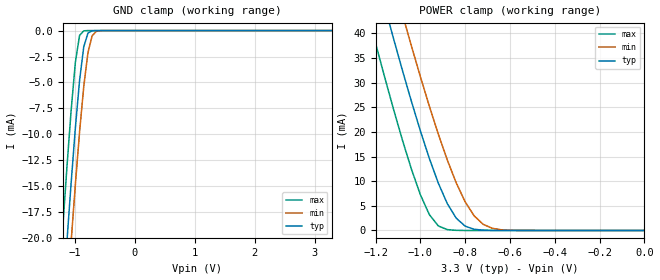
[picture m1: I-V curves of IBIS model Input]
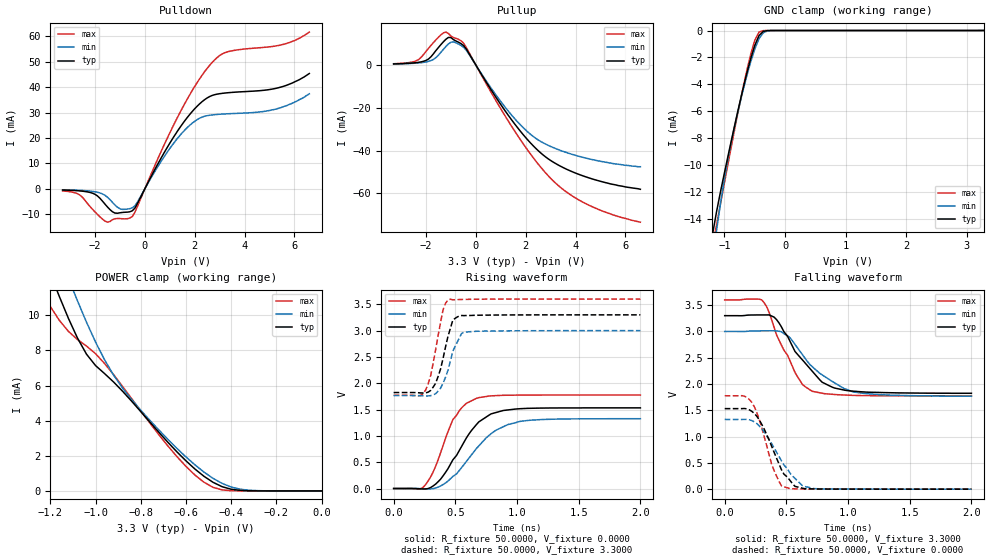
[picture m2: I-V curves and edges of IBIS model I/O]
| IBIS file w9825g6kh_-40~85c.ibs
| Winbond W9825G6KH 16M*16 256M bits SDRAM IBIS model
| This model valid for industrial temperature range
| This model applicable for -5I/-6I industrial grades
| Part Number   Organization   Package   VDD/VDDQ   TOPR
| W9825G6KH-5I   16M*16   TSOP II 54-Pin   3.3V +/-0.3V   -40~85C
| W9825G6KH-6I   16M*16   TSOP II 54-Pin   3.3V +/-0.3V   -40~85C
| TOPR: Operating Temperature
[IBIS ver]   3.2
[File name]  w9825g6kh_-40~85c.ibs
[File Rev]   0.1
[Date]   Jul. 22, 2014
[Source]   Simulation of a silicon level SPICE model
[Notes]   IBIS Characteristics for I/O Buffer
   IBIS Model Revision History:
   Rev 0.1: Jul. 22, 2014
   - IBIS model file initial creation
[Disclaimer] This model software code and all related notes or documentation
             (collectively "Software") is provided "AS IS" without warranty of
             any kind. You bear the risk of using it.
             Winbond Electronics Corp.("WINBOND") hereunder
             DISCLAIMS ALL WARRANTIES EXPRESS OR IMPLIED, INCLUDING BUT NOT
             LIMITED TO,NONINFRINGEMENT OF THIRD PARTY RIGHTS, AND ANY IMPLIED
             WARRANTIES OF MERCHANTABILITY OR FITNESS FOR ANY PARTICULAR
             PURPOSE.WINBOND DOES NOT WARRANT THAT THE OPERATION OF THE
             SOFTWARE WILL BE UNINTERRUPTED OR ERROR-FREE. FURTHERMORE,
             WINBOND DOES NOT MAKE ANY WARRANTIES REGARDING THE USE OR
             THE RESULTS OF THE USE OF THE SOFTWARE IN TERMS OF ITS
             CORRECTNESS,ACCURACY, RELIABILITY, OR OTHERWISE. IN NO EVENT SHALL
             WINBOND, ITS SUBSIDIARY COMPANIES OR THEIR SUPPLIERS BE LIABLE
             FOR ANY DIRECT, INDIRECT, CONSEQUENTIAL, INCIDENTAL, OR SPECIAL
             DAMAGES (INCLUDING, WITHOUT LIMITATION, DAMAGES FOR LOSS OF
             PROFITS,BUSINESS INTERRUPTION, OR LOSS OF INFORMATION) ARISING OUT
             OF YOUR USE OF OR INABILITY TO USE THE SOFTWARE, EVEN IF WINBOND
             HAS BEEN ADVISED OF THE POSSIBILITY OF SUCH DAMAGES.
[Copyright]  Copyright (C) 2014 Winbond Electronics Corp. All rights reserved
|   Component W9825G6KH
[Component]   W9825G6KH
[Manufacturer] Winbond Electronics Corp.
| All pins excluding NC, POWER and GND (R[Ohm], L[H], C[F])
[Package]   | TSOP II 54-Pin
| variable   typ   min   max
R_pkg   629.144m   423.110m   929.160m
L_pkg   6.520n   4.165n   9.460n
C_pkg   0.932p   0.493p   1.491p
[Pin]  signal_name   model_name   R_pin   L_pin   C_pin
1   VDD   POWER   NA   NA   NA
2   DQ0   I/O   929.160m   9.460n   1.476p
3   VDDQ   POWER   NA   NA   NA
4   DQ1   I/O   814.680m   8.450n   1.271p
5   DQ2   I/O   750.840m   7.906n   1.159p
6   VSSQ   GND   NA   NA   NA
7   DQ3   I/O   617.360m   6.805n   0.901p
8   DQ4   I/O   540.680m   6.142n   0.765p
9   VDDQ   POWER   NA   NA   NA
10   DQ5   I/O   492.610m   5.365n   0.642p
11   DQ6   I/O   471.220m   5.051n   0.614p
12   VSSQ   GND   NA   NA   NA
13   DQ7   I/O   445.520m   4.435n   0.598p
14   VDD   POWER   NA   NA   NA
15   LDQM   Input   443.000m   4.165n   0.607p
16   /WE   Input   445.970m   4.501n   0.596p
17   /CAS   Input   454.700m   4.761n   0.603p
18   /RAS   Input   465.610m   5.049n   0.606p
19   /CS   Input   469.910m   5.368n   0.652p
20   BS0   Input   529.490m   5.991n   0.735p
21   BS1   Input   615.100m   6.662n   0.899p
22   A10/AP   Input   687.070m   7.224n   1.058p
23   A0   Input   748.680m   7.777n   1.162p
24   A1   Input   811.970m   8.346n   1.269p
25   A2   Input   872.720m   8.868n   1.395p
26   A3   Input   925.530m   9.325n   1.478p
27   VDD   POWER   NA   NA   NA
28   VSS   GND   NA   NA   NA
29   A4   Input   916.240m   8.252n   1.447p
30   A5   Input   923.200m   8.310n   1.491p
31   A6   Input   853.010m   8.061n   1.346p
32   A7   Input   770.700m   7.654n   1.223p
33   A8   Input   690.820m   7.167n   1.065p
34   A9   Input   593.070m   6.518n   0.898p
35   A11   Input   514.890m   5.841n   0.749p
36   A12   Input   454.170m   5.184n   0.679p
37   CKE   Input   444.820m   4.886n   0.630p
38   CLK   Input   431.850m   4.604n   0.583p
39   UDQM   Input   423.110m   4.255n   0.493p
40   NC   NC   NA   NA   NA
41   VSS   GND   NA   NA   NA
42   DQ8   I/O   442.840m   4.478n   0.561p
43   VDDQ   POWER   NA   NA   NA
44   DQ9   I/O   445.340m   5.021n   0.561p
45   DQ10   I/O   470.040m   5.335n   0.596p
46   VSSQ   GND   NA   NA   NA
47   DQ11   I/O   519.910m   6.097n   0.746p
48   DQ12   I/O   588.090m   6.703n   0.876p
49   VDDQ   POWER   NA   NA   NA
50   DQ13   I/O   771.860m   7.808n   1.192p
51   DQ14   I/O   841.280m   8.164n   1.317p
52   VSSQ   GND   NA   NA   NA
53   DQ15   I/O   913.570m   8.305n   1.417p
54   VSS   GND   NA   NA   NA
| Models and submodels in the file (2): Input (Input), I/O (I/O)
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|   Model Input
[Model]   Input
Model_type Input
Vinl =   0.8000V
Vinh =   2.0000V
| variable   typ   min   max
C_comp   1.3750pF   0.9950pF   1.7450pF
| Junction Temperature (Ambient temperature is typ 25C, min 85C, max -40C)
| variable   typ   min   max
[Temperature Range]   40.0000   100.0000   -40.0000
[Voltage Range]   3.3000V   3.0000V   3.6000V
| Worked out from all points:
|   GND clamp passes 1 mA (typ) near -0.82 V on its own axis
|   POWER clamp passes 1 mA (typ) near -0.80 V on its own axis
[GND_clamp]
|Voltage   I(typ)   I(min)   I(max)
-3.3V     -224.8mA   -229.4mA   -219.2mA
-1.27V    -32.26mA   -38mA      -25.08mA
-1.2V     -26.19mA   -31.95mA   -18.98mA
-1.13V    -20.29mA   -26.03mA   -13.11mA
-1.06V    -14.64mA   -20.3mA    -7.65mA
-990mV    -9.374mA   -14.83mA   -3.054mA
-920mV    -4.804mA   -9.77mA    -462.5uA
-850mV    -1.554mA   -5.376mA   -21.25uA
-780mV    -236.7uA   -2.121mA   -714.5nA
-710mV    -21.67uA   -495uA     -23.22nA
-640mV    -1.74uA    -73.58uA   -759.6pA
3.28V     3.24pA     2.614nA    2.64pA
[POWER_clamp]
|Voltage   I(typ)   I(min)   I(max)
-3.28V    445.6mA    455mA      434.6mA
-1.24V    59.29mA    70.79mA    44.89mA
-1.2V     52.38mA    63.89mA    37.96mA
-1.12V    38.93mA    50.39mA    24.6mA
-1.08V    32.44mA    43.82mA    18.3mA
-1.04V    26.17mA    37.4mA     12.43mA
-1V       20.19mA    31.18mA    7.248mA
-920mV    9.608mA    19.54mA    925uA
-840mV    2.494mA    9.654mA    26.33uA
-760mV    246.1uA    2.968mA    537.4nA
-720mV    61.77uA    1.261mA    75.79nA
0V        3.3pA      3.246pA    3.6pA
|   Model I/O
[Model]   I/O
Model_type I/O
Polarity   Non-Inverting
Enable   Active-High
Vinl =   0.8000V
Vinh =   2.0000V
Vmeas =   1.4000V
Cref =   30.0000pF
Rref =   50.0000
| variable   typ   min   max
C_comp   2.9950pF   2.4950pF   3.4950pF
| Junction Temperature (Ambient temperature is typ 25C, min 85C, max -40C)
| variable   typ   min   max
[Temperature Range]   40.0000   100.0000   -40.0000
[Voltage Range]   3.3000V   3.0000V   3.6000V
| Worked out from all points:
|   slope of the pulldown table from 0 to 0.495 V, typ, clamps not added: 53.2 ohm
|   slope of the pullup table from 0 to 0.495 V, typ, clamps not added: 52.4 ohm
|   GND clamp passes 1 mA (typ) near -0.49 V on its own axis
|   POWER clamp passes 1 mA (typ) near -0.54 V on its own axis
|   rising waveform, R_fixture 50.0000, V_fixture 0.0000: 20-80 % time 255ps typ, 299ps min, 190ps max; typ from 0 V to 1.53 V
|   rising waveform, R_fixture 50.0000, V_fixture 3.3000: 20-80 % time 96.1ps typ, 107ps min, 87.9ps max; typ from 1.82 V to 3.3 V
|   falling waveform, R_fixture 50.0000, V_fixture 3.3000: 20-80 % time 278ps typ, 326ps min, 212ps max; typ from 3.3 V to 1.82 V
|   falling waveform, R_fixture 50.0000, V_fixture 0.0000: 20-80 % time 173ps typ, 216ps min, 134ps max; typ from 1.53 V to 0 V
[Pulldown]
|Voltage   I(typ)   I(min)   I(max)
-3.3V     -490uA     -390uA     -830uA
-2.6V     -850uA     -610uA     -2.51mA
-2.1V     -1.73mA    -1.03mA    -8.07mA
-1.5V     -7.16mA    -3.32mA    -13.15mA
-1V       -9.45mA    -7.86mA    -11.72mA
-600mV    -9.046mA   -7.82mA    -11.51mA
1.5V      25.41mA    22.05mA    31.7mA
2.2V      33.47mA    27.8mA     43.34mA
2.8V      37.05mA    29.18mA    50.75mA
3.4V      37.88mA    29.57mA    54.14mA
5.1V      39.24mA    31.03mA    56.02mA
6.6V      45.39mA    37.4mA     61.7mA
[Pullup]
|Voltage   I(typ)   I(min)   I(max)
-3.3V     560uA      510uA      650uA
-2.3V     1.3mA      1.02mA     2.61mA
-1.9V     2.86mA     1.75mA     7.88mA
-1.3V     10.95mA    7.43mA     15.1mA
-1V       12.86mA    10.72mA    13.54mA
-600mV    10.09mA    9.217mA    11.4mA
1.6V      -28.17mA   -25.6mA    -31.62mA
2.3V      -37.71mA   -33.34mA   -43.27mA
3V        -44.59mA   -38.03mA   -52.91mA
3.7V      -49mA      -41.12mA   -59.86mA
4.5V      -52.58mA   -43.71mA   -65.28mA
6.6V      -58.04mA   -47.5mA    -73.43mA
[GND_clamp]
|Voltage   I(typ)   I(min)   I(max)
-3.3V     -94.76mA   -97.46mA   -91.51mA
-1.2V     -15.22mA   -17.11mA   -16.07mA
-1.13V    -13.45mA   -14.83mA   -14.42mA
-920mV    -8.877mA   -9.014mA   -9.398mA
-780mV    -6.005mA   -6.069mA   -6.156mA
-640mV    -3.333mA   -3.515mA   -3.151mA
-570mV    -2.137mA   -2.377mA   -1.821mA
-500mV    -1.111mA   -1.381mA   -730uA
-430mV    -378.2uA   -608.3uA   -121.8uA
-360mV    -66.19uA   -167.9uA   -8.669uA
-220mV    -942.7nA   -4.831uA   -49.42nA
3.28V     1.498nA    13.88uA    1.052nA
[POWER_clamp]
|Voltage   I(typ)   I(min)   I(max)
-3.28V    92.62mA    95.06mA    89.68mA
-1.24V    13.75mA    16.25mA    11.49mA
-1.16V    11.07mA    13.46mA    9.711mA
-1.12V    9.83mA     12.12mA    9.088mA
-1.08V    8.709mA    10.83mA    8.618mA
-1.04V    7.788mA    9.61mA     8.249mA
-960mV    6.68mA     7.466mA    7.254mA
-880mV    5.671mA    5.846mA    5.941mA
-640mV    2.224mA    2.421mA    1.955mA
-520mV    828.3uA    1.069mA    491.8uA
-360mV    31.46uA    97.27uA    2.704uA
0V        1.728nA    21.21nA    1.077nA
[Ramp]
| variable   typ   min   max
dV/dt_r  0.9192/0.2446n   0.7956/0.2966n   1.0656/0.1799n
dV/dt_f  0.8856/0.2679n   0.7392/0.3263n   1.0968/0.2020n
R_load =   50.0000
[Rising Waveform]
R_fixture=   50.0000
V_fixture=   0.0000
V_fixture_min=   0.0000
V_fixture_max=   0.0000
C_fixture=   0.0000F
|time   V(typ)   V(min)   V(max)
0s        0V         788.9nV    0V
240ps     -9.162mV   -4.23mV    24.74mV
300ps     18.81mV    -6.873mV   221.2mV
360ps     128.2mV    26.41mV    544mV
480ps     544.7mV    229.5mV    1.309V
590ps     962.2mV    515.3mV    1.619V
670ps     1.212V     757.3mV    1.712V
830ps     1.444V     1.108V     1.765V
1.03ns    1.517V     1.277V     1.775V
2ns       1.532V     1.326V     1.776V
[Rising Waveform]
R_fixture=   50.0000
V_fixture=   3.3000
V_fixture_min=   3.0000
V_fixture_max=   3.6000
C_fixture=   0.0000F
|time   V(typ)   V(min)   V(max)
0s        1.823V     1.765V     1.772V
200ps     1.819V     1.765V     1.759V
260ps     1.817V     1.758V     1.875V
300ps     1.863V     1.764V     2.145V
340ps     1.998V     1.8V       2.632V
400ps     2.466V     1.999V     3.39V
440ps     2.887V     2.243V     3.584V
480ps     3.202V     2.61V      3.585V
570ps     3.285V     2.972V     3.592V
2ns       3.299V     2.999V     3.599V
[Falling Waveform]
R_fixture=   50.0000
V_fixture=   3.3000
V_fixture_min=   3.0000
V_fixture_max=   3.6000
C_fixture=   0.0000F
|time   V(typ)   V(min)   V(max)
0s        3.3V       3V         3.6V
300ps     3.314V     3.012V     3.6V
340ps     3.314V     3.012V     3.471V
400ps     3.273V     3.013V     3.082V
510ps     2.906V     2.918V     2.546V
630ps     2.459V     2.559V     1.994V
710ps     2.243V     2.33V      1.861V
870ps     1.942V     2.051V     1.805V
1.05ns    1.862V     1.846V     1.784V
2ns       1.824V     1.768V     1.772V
[Falling Waveform]
R_fixture=   50.0000
V_fixture=   0.0000
V_fixture_min=   0.0000
V_fixture_max=   0.0000
C_fixture=   0.0000F
|time   V(typ)   V(min)   V(max)
0s        1.532V     1.326V     1.776V
160ps     1.534V     1.327V     1.768V
220ps     1.48V      1.304V     1.65V
280ps     1.319V     1.204V     1.324V
400ps     704.2mV    788.5mV    354.3mV
480ps     286.4mV    460.6mV    44.37mV
570ps     53.04mV    204.2mV    6.354mV
630ps     18.64mV    66.71mV    3.66mV
730ps     4.471mV    9.352mV    1.968mV
2ns       28.35uV    67.62uV    3.338uV
